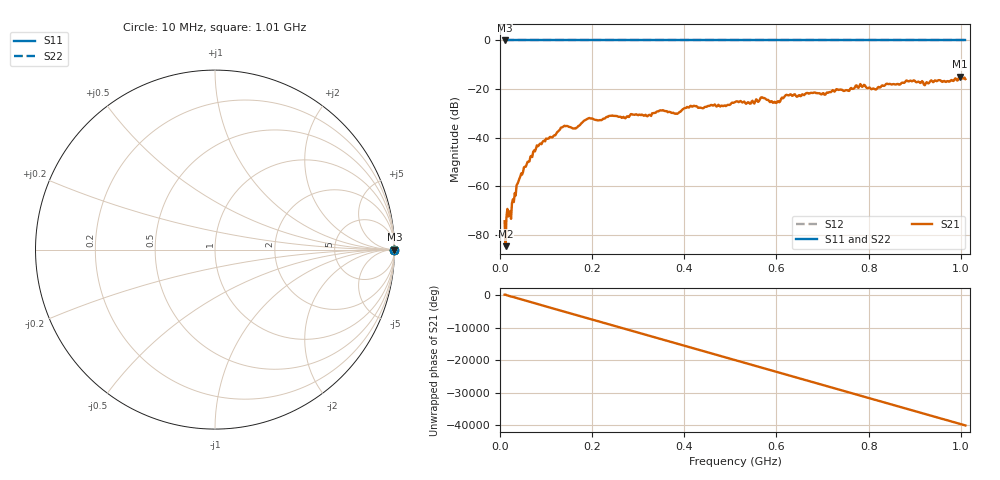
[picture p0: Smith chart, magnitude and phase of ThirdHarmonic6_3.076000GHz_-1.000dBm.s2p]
! 8/17/2025 9:00:25 AM
! C:\ANRITSUVNA\TEMP\TEMP.S2P
! CHANNEL.1
! TR.MEASUREMENT
! RAW.DATA
! RF.CORRECTION.OFF
! AVERAGING.OFF
! IF.BANDWIDTH: 5KHZ
! SWEEPTYPE:  FREQ.SWEEP(Linear)
! Reference Plane Port Info
! PORT:  PORT1  PORT2
! DISTANCE:  0  m  0  m
! TIME:  0  s  0  s
! PHASE.OFFSET:  0  deg.  0  deg.
! LOSS:  0  dB  0  dB
! REF.LOSS:  0  dB  0  dB
! REF.FREQ:  0  Hz  0  Hz
! Power Info
! POWER:  -20  dBm  -20  dBm
! EFF.POWER:  -20  dBm  -20  dBm
! SOURCE.ATTEN:  0  dB  0  dB
! TEST.ATTEN:  0  dB  0  dB
# GHZ S RI R 50.0
! FREQ.GHZ  S11RE  S11IM  S21RE  S21IM  S12RE  S12IM  S22RE  S22IM
!; PortSelection: Port_12
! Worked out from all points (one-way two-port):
!   501 points, 10 MHz to 1.01 GHz, reference 50 ohm
!   highest |S21| = -14.84 dB at 998 MHz (marker M1); lowest = -84.6 dB at 12 MHz (marker M2)
!   lowest |S11| = 0.0 dB at 10 MHz (marker M3)
!   |S11| at or under -10 dB: nowhere
!   |S22| runs from 0.0 to 0.0 dB; largest |S21 - S12| = 1.2
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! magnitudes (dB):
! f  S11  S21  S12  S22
! 10 MHz  0.0  -74.3  0.0  0.0
! 12 MHz  0.0  -84.6  0.0  0.0
! 22 MHz  0.0  -70.1  0.0  0.0
! 42 MHz  0.0  -56.9  0.0  0.0
! 82 MHz  0.0  -43.5  0.0  0.0
! 136 MHz  0.0  -35.6  0.0  0.0
! 162 MHz  0.0  -36.2  0.0  0.0
! 178 MHz  0.0  -33.8  0.0  0.0
! 194 MHz  0.0  -31.9  0.0  0.0
! 344 MHz  0.0  -29.2  0.0  0.0
! 382 MHz  0.0  -30.0  0.0  0.0
! 416 MHz  0.0  -27.2  0.0  0.0
! 510 MHz  0.0  -25.3  0.0  0.0
! 570 MHz  0.0  -23.5  0.0  0.0
! 596 MHz  0.0  -25.2  0.0  0.0
! 622 MHz  0.0  -22.3  0.0  0.0
! 678 MHz  0.0  -21.6  0.0  0.0
! 786 MHz  0.0  -19.1  0.0  0.0
! 814 MHz  0.0  -20.1  0.0  0.0
! 844 MHz  0.0  -17.9  0.0  0.0
! 998 MHz  0.0  -14.8  0.0  0.0
! 1.01 GHz  0.0  -15.9  0.0  0.0
